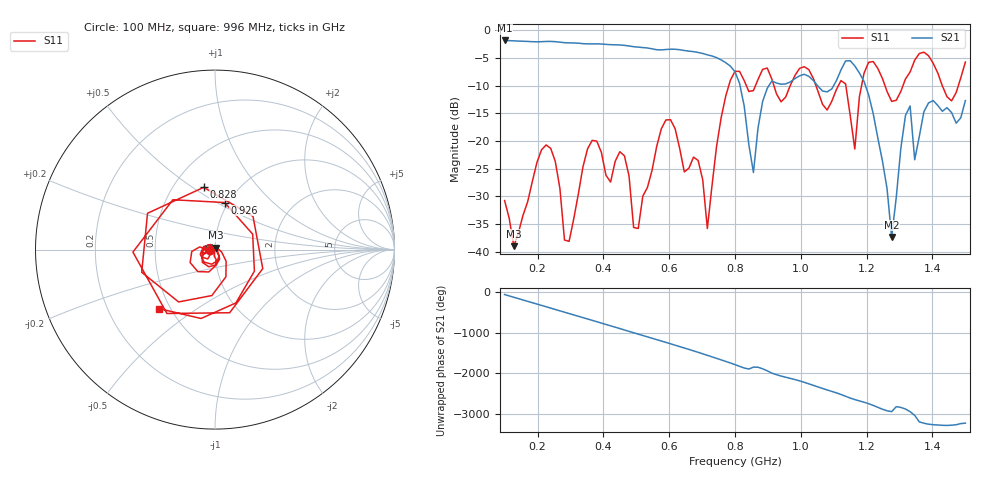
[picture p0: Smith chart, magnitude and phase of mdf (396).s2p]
! NanoVNA-App
! Date: 2025-09-25 15:41:30
! Start: 100MHz Stop: 1,5GHz Points: 101
! S-Parameter data: F S11 S21 S12 S22
# Hz S RI R 50
!  Frequency  S11_Real  S11_Imag  S21_Real  S21_Imag  S12_Real  S12_Imag  S22_Real  S22_Imag
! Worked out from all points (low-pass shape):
!   101 points, 100 MHz to 1.5 GHz, reference 50 ohm
!   highest |S21| = -1.80 dB at 100 MHz (marker M1); lowest = -37.3 dB at 1.276 GHz (marker M2)
!   |S21| within 3 dB of the highest: start of sweep to 739.2 MHz
!   lowest |S11| = -39.0 dB at 128 MHz (marker M3), VSWR 1.02, Z = 50.3 + j1.08 ohm
!   |S11| at or under -10 dB: start of sweep to 781 MHz; 1.046 GHz to 1.114 GHz (67.82 MHz wide, 6.28 % of centre); 1.256 GHz to 1.31 GHz (54.33 MHz wide, 4.23 % of centre) (the widest 3 of 7)
!   S12 and S22 are empty: the file has one direction only
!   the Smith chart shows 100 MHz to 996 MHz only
!   S11 on the Smith chart (normalised r, x): 100 MHz: 0.94, -0.01; 828 MHz: 0.70, +0.55; 926 MHz: 0.96, +0.54; 996 MHz: 0.43, -0.36
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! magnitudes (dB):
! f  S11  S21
! 100 MHz  -30.7  -1.8
! 128 MHz  -39.0  -1.9
! 212 MHz  -21.6  -2.0
! 282 MHz  -37.9  -2.2
! 338 MHz  -24.7  -2.4
! 464 MHz  -22.6  -2.7
! 506 MHz  -35.8  -3.0
! 576 MHz  -17.8  -3.5
! 716 MHz  -35.8  -4.4
! 800 MHz  -7.4  -7.5
! 828 MHz  -9.1  -13.7
! 856 MHz  -10.9  -25.7
! 926 MHz  -11.4  -9.5
! 996 MHz  -6.9  -8.2
! 1.038 GHz  -8.7  -9.0
! 1.136 GHz  -9.6  -5.5
! 1.164 GHz  -21.4  -6.4
! 1.192 GHz  -7.7  -9.2
! 1.276 GHz  -12.8  -37.3
! 1.332 GHz  -7.5  -13.6
! 1.346 GHz  -5.4  -23.4
! 1.5 GHz  -5.7  -12.7
